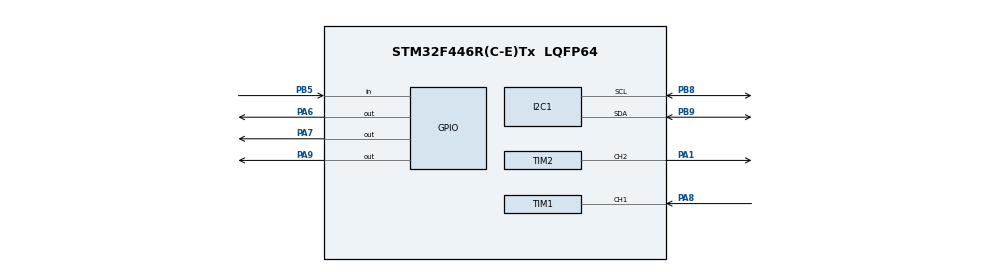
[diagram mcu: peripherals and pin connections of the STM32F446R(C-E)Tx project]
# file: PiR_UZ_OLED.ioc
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I2C1.I2C_Mode=I2C_Fast
Mcu.Family=STM32F4
Mcu.Name=STM32F446R(C-E)Tx
Mcu.Package=LQFP64
NVIC.PriorityGroup=NVIC_PRIORITYGROUP_4
NVIC.TIM1_CC_IRQn=true\:0\:0\:false\:false\:true\:true\:true\:true
PA1.Signal=S_TIM2_CH2
PA13.Mode=Serial_Wire
PA13.Signal=SYS_JTMS-SWDIO
PA14.Mode=Serial_Wire
PA14.Signal=SYS_JTCK-SWCLK
PA6.Signal=GPIO_Output
PA7.Signal=GPIO_Output
PA8.Signal=S_TIM1_CH1
PA9.Signal=GPIO_Output
PB5.Signal=GPIO_Input
PB8.Mode=I2C
PB8.Signal=I2C1_SCL
PB9.Mode=I2C
PB9.Signal=I2C1_SDA
PH0-OSC_IN.Mode=HSE-External-Oscillator
PH0-OSC_IN.Signal=RCC_OSC_IN
PH1-OSC_OUT.Mode=HSE-External-Oscillator
PH1-OSC_OUT.Signal=RCC_OSC_OUT
ProjectManager.HeapSize=0x200
ProjectManager.StackSize=0x400
ProjectManager.TargetToolchain=STM32CubeIDE
RCC.CortexFreq_Value=16000000
RCC.USBFreq_Value=96000000
RCC.VCOOutputFreq_Value=192000000
SH.S_TIM1_CH1.0=TIM1_CH1,Input_Capture1_from_TI1
SH.S_TIM2_CH2.0=TIM2_CH2,PWM Generation2 CH2
TIM1.Channel-Input_Capture1_from_TI1=TIM_CHANNEL_1
TIM1.Period=0xfffe
TIM1.Prescaler=15
TIM2.Channel-PWM\ Generation2\ CH2=TIM_CHANNEL_2
TIM2.Period=19999
TIM2.Prescaler=15
TIM2.Pulse-PWM\ Generation2\ CH2=1500
board=custom

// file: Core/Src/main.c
/* USER CODE BEGIN Header */
/**
  ******************************************************************************
  * @file           : main.c
  * @brief          : Main program body
  ******************************************************************************
  * @attention
  *
  * Copyright (c) 2025 STMicroelectronics.
  * All rights reserved.
  *
  * This software is licensed under terms that can be found in the LICENSE file
  * in the root directory of this software component.
  * If no LICENSE file comes with this software, it is provided AS-IS.
  *
  ******************************************************************************
  */
/* USER CODE END Header */
#include "main.h"
#include "i2c.h"
#include "tim.h"
#include "gpio.h"

/* USER CODE BEGIN Includes */
#include "bitmaps.h"
/* USER CODE END Includes */

void SystemClock_Config(void);
/* USER CODE BEGIN PFP */
void MX_GPIO_Init(void);
void MX_TIM1_Init(void);
/* USER CODE END PFP */

/* USER CODE BEGIN 0 */
#define ADDR 0x78
#define WIDTH 130
#define HEIGHT 64
static uint8_t Buffer[WIDTH * HEIGHT / 8];

void mikrosekunda (uint16_t time)
{
	__HAL_TIM_SET_COUNTER(&htim1, 0);
	while (__HAL_TIM_GET_COUNTER (&htim1) < time);
}

uint32_t vrijednost1 = 0;
uint32_t vrijednost2 = 0;
uint32_t razlika = 0;
uint8_t prvi = 0;
uint8_t udaljenost  = 0;

void HAL_TIM_IC_CaptureCallback(TIM_HandleTypeDef *htim)
{

	if (prvi==0)
			{
				vrijednost1 = HAL_TIM_ReadCapturedValue(htim, TIM_CHANNEL_1);
				prvi = 1;
				__HAL_TIM_SET_CAPTUREPOLARITY(htim, TIM_CHANNEL_1, TIM_INPUTCHANNELPOLARITY_FALLING);
			}

			else if (prvi==1){
				vrijednost2 = HAL_TIM_ReadCapturedValue(htim, TIM_CHANNEL_1);
				__HAL_TIM_SET_COUNTER(htim, 0);

				if (vrijednost2 > vrijednost1){
					razlika = vrijednost2-vrijednost1;
				}

				else if (vrijednost1 > vrijednost2){
					razlika = (0xffff - vrijednost1) + vrijednost2;
				}

				udaljenost = razlika * .034/2;
				prvi = 0;

				__HAL_TIM_SET_CAPTUREPOLARITY(htim, TIM_CHANNEL_1, TIM_INPUTCHANNELPOLARITY_RISING);
				__HAL_TIM_DISABLE_IT(&htim1, TIM_IT_CC1);
		}

}

void UZ_Read (void)
{
	HAL_GPIO_WritePin(GPIOA, GPIO_PIN_9, GPIO_PIN_SET);
	mikrosekunda(10);
	HAL_GPIO_WritePin(GPIOA, GPIO_PIN_9, GPIO_PIN_RESET);

	__HAL_TIM_ENABLE_IT(&htim1, TIM_IT_CC1);
}
/* USER CODE END 0 */

int main(void)
{

  /* MCU Configuration--------------------------------------------------------*/

  /* Reset of all peripherals, Initializes the Flash interface and the Systick. */
  HAL_Init();

  /* Configure the system clock */
  SystemClock_Config();

  /* Initialize all configured peripherals */
  MX_GPIO_Init();
  MX_I2C1_Init();
  MX_TIM1_Init();
  MX_TIM2_Init();
  /* USER CODE BEGIN 2 */
  HAL_TIM_IC_Start_IT(&htim1, TIM_CHANNEL_1);
  uint16_t switchState;
  HAL_TIM_PWM_Start(&htim2, TIM_CHANNEL_2);

HAL_Delay(100);
//provjera konekcije OLED-a s I2C
  	if (HAL_I2C_IsDeviceReady(&hi2c1,ADDR, 1, 20000) != HAL_OK) {
  			return 0;
  		}
  	//Inicijaliziranje OLED-a
  	Write(0x78,0x00,0xAE); // display OFF
  	Write(0x78,0x00,0x20); //Memory Addressing mode
  	Write(0x78,0x00,0x10); //Page Addressing mode
  	Write(0x78,0x00,0xB0); //Page start address
  	Write(0x78,0x00,0xC8); //COM output scan direction
  	Write(0x78,0x00,0x00); // low column address
  	Write(0x78,0x00,0x10); // high column address
  	Write(0x78,0x00,0x40); // start line address
  	Write(0x78,0x00,0x81); // contrast register
  	Write(0x78,0x00,0xFF);
  	Write(0x78,0x00,0xA1); // segment re-map 0 do 127
  	Write(0x78,0x00,0xA6); //normal display

  	Write(0x78,0x00,0xA8); //Height OxFF za 128 px, 0xA8 za sve ostalo
  	Write(0x78,0x00,0x3F); // multiplex ratio

  	Write(0x78,0x00,0xA4); //Output follows RAM
  	Write(0x78,0x00,0xD3); // display offset
  	Write(0x78,0x00,0x00); // not offset
  	Write(0x78,0x00,0xD5); // frequency
  	Write(0x78,0x00,0xF0); // divide ratio
  	Write(0x78,0x00,0xD9); // pre-charge period
  	Write(0x78,0x00,0x22);
  	Write(0x78,0x00,0xDA); // COM pin
  	Write(0x78,0x00,0x12);

  	Write(0x78,0x00,0xDB); // Voltage pin (vcomh)
  	Write(0x78,0x00,0x20);
  	Write(0x78,0x00,0x8D); // DC-DC upaljen
  	Write(0x78,0x00,0x14);
  	Write(0x78,0x00,0xAF); //upali panel
  	//deaktiviraj scroll
  	Write(0x78,0x00,0x2E);
  	//Clear ekran
  	memset(Buffer, (0xFF) ? 0x00 : 0xFF, sizeof(Buffer));
  	//Update ekran
  	uint8_t i;

  		for (i = 0; i < 8; i++) {
  			Write(0x78,0x00,0xB0+i);
  			Write(0x78,0x00,0x00);
  			Write(0x78,0x00,0x10);

  			WriteMulti(ADDR, 0x40, &Buffer[WIDTH * i], WIDTH);
  			}
  /* USER CODE END 2 */

  /* Infinite loop */
  /* USER CODE BEGIN WHILE */
  while (1)
  {
	  UZ_Read();
	  	  HAL_Delay(200);
	  	  switchState = HAL_GPIO_ReadPin(GPIOB, GPIO_PIN_5);

	  	           if(switchState == 1){
	  	        	   HAL_GPIO_WritePin(GPIOA, GPIO_PIN_7, GPIO_PIN_SET);
	  	        	   memset(Buffer, (0xFF) ? 0x00 : 0xFF, sizeof(Buffer));
	  	        	   WriteBitmap(0,0,Priblizite_se_vratima,128,64,1);

	  	        	   	for (i = 0; i < 8; i++){
	  	        	   		Write(0x78,0x00,0xB0+i);
	  	        	   		Write(0x78,0x00,0x00);
	  	        	   		Write(0x78,0x00,0x10);

	  	        	   		WriteMulti(ADDR, 0x40, &Buffer[WIDTH * i], WIDTH);
	  	        	   		}
	  	        	   	if(udaljenost < 10){
	  	        	  	  	           HAL_GPIO_WritePin(GPIOA, GPIO_PIN_6, GPIO_PIN_SET);
	  	        	  	  	     memset(Buffer, (0xFF) ? 0x00 : 0xFF, sizeof(Buffer));
	  	        	  	  	     WriteBitmap(0,0,Pricekajte,128,64,1);

	  	        	  	  	     	 	 for (i = 0; i < 8; i++) {
	  	        	  	  	     	  	      	  Write(0x78,0x00,0xB0+i);
	  	        	  	  	     	  	      	  Write(0x78,0x00,0x00);
	  	        	  	  	     	  	      	  Write(0x78,0x00,0x10);
	  	        	  	  	     	  	      	  WriteMulti(ADDR, 0x40, &Buffer[WIDTH * i], WIDTH);
	  	        	  	  	     	 	 	 	  }

	  	        	  	  	           HAL_Delay(1000);
	  	      	  	        	   __HAL_TIM_SET_COMPARE(&htim2,TIM_CHANNEL_2,2000);
	  	      	  	        	   HAL_Delay(500);
	  	      	  	        	memset(Buffer, (0xFF) ? 0x00 : 0xFF, sizeof(Buffer));
	  	      	  	        	WriteBitmap(0,0,Prodite,128,64,1);

	  	      	  	        			for (i = 0; i < 8; i++) {
	  	      	  	        					Write(0x78,0x00,0xB0+i);
	  	      	  	        		  	   		Write(0x78,0x00,0x00);
	  	      	  	        		  	   		Write(0x78,0x00,0x10);
	  	      	  	        		  	   		WriteMulti(ADDR, 0x40, &Buffer[WIDTH * i], WIDTH);
	  	      	  	        		  	   		}

	  	      	  	        	HAL_Delay(5000);
	  	      	  	        	memset(Buffer, (0xFF) ? 0x00 : 0xFF, sizeof(Buffer));

	  	      	  	        	for (i = 0; i < 8; i++) {
	  	        	   	        	   		Write(0x78,0x00,0xB0+i);
	  	        	   	        	   		Write(0x78,0x00,0x00);
	  	        	   	        	   		Write(0x78,0x00,0x10);
	  	        	   	        	   		WriteMulti(ADDR, 0x40, &Buffer[WIDTH * i], WIDTH);
	  	        	   	        	   		}
	  	        	   	}else{
	  	        	   __HAL_TIM_SET_COMPARE(&htim2,TIM_CHANNEL_2,1000);

	  	           }
	  	           }else{
	  	           HAL_GPIO_WritePin(GPIOA, GPIO_PIN_6, GPIO_PIN_RESET);
	  	           __HAL_TIM_SET_COMPARE(&htim2,TIM_CHANNEL_2,1000);
	  	           }
    /* USER CODE END WHILE */

  }
}

void SystemClock_Config(void)
{
  RCC_OscInitTypeDef RCC_OscInitStruct = {0};
  RCC_ClkInitTypeDef RCC_ClkInitStruct = {0};

  /** Configure the main internal regulator output voltage
  */
  __HAL_RCC_PWR_CLK_ENABLE();
  __HAL_PWR_VOLTAGESCALING_CONFIG(PWR_REGULATOR_VOLTAGE_SCALE3);

  /** Initializes the RCC Oscillators according to the specified parameters
  * in the RCC_OscInitTypeDef structure.
  */
  RCC_OscInitStruct.OscillatorType = RCC_OSCILLATORTYPE_HSI;
  RCC_OscInitStruct.HSIState = RCC_HSI_ON;
  RCC_OscInitStruct.HSICalibrationValue = RCC_HSICALIBRATION_DEFAULT;
  RCC_OscInitStruct.PLL.PLLState = RCC_PLL_NONE;
  if (HAL_RCC_OscConfig(&RCC_OscInitStruct) != HAL_OK)
  {
    Error_Handler();
  }

  /** Initializes the CPU, AHB and APB buses clocks
  */
  RCC_ClkInitStruct.ClockType = RCC_CLOCKTYPE_HCLK|RCC_CLOCKTYPE_SYSCLK
                              |RCC_CLOCKTYPE_PCLK1|RCC_CLOCKTYPE_PCLK2;
  RCC_ClkInitStruct.SYSCLKSource = RCC_SYSCLKSOURCE_HSI;
  RCC_ClkInitStruct.AHBCLKDivider = RCC_SYSCLK_DIV1;
  RCC_ClkInitStruct.APB1CLKDivider = RCC_HCLK_DIV1;
  RCC_ClkInitStruct.APB2CLKDivider = RCC_HCLK_DIV1;

  if (HAL_RCC_ClockConfig(&RCC_ClkInitStruct, FLASH_LATENCY_0) != HAL_OK)
  {
    Error_Handler();
  }
}

/* USER CODE BEGIN 4 */
void Write(uint8_t address, uint8_t reg, uint8_t data) {
 	uint8_t a[2];
 	a[0] = reg;
 	a[1] = data;
 	HAL_I2C_Master_Transmit(&hi2c1, address, a, 2, 10);
 }

void WriteMulti(uint8_t address, uint8_t reg, uint8_t* data, uint16_t count) {
	uint8_t a[256];
	a[0] = reg;
	uint8_t i;
	for(i = 0; i < count; i++)
			a[i+1] = data[i];
			HAL_I2C_Master_Transmit(&hi2c1, address, a, count+1, 10);
	}

void WritePixel(uint16_t x, uint16_t y,uint16_t color) {
	if (color == 1) {
			Buffer[x + (y / 8) * WIDTH] |= 1 << (y % 8);
		} else {
			Buffer[x + (y / 8) * WIDTH] &= ~(1 << (y % 8));
		}
	}

void WriteBitmap(int16_t x, int16_t y, const unsigned char* bitmap, int16_t w, int16_t h, uint16_t color){

    int16_t byteWidth = (w+7)/8;
    uint8_t byte = 0;

    for(int16_t j=0; j<h; j++, y++){
        for(int16_t i=0; i<w; i++){
            if(i & 7){
               byte <<= 1;
            }else{
            	byte = (*(const unsigned char *)(&bitmap[j * byteWidth + i / 8]));
            }if(byte & 0x80)
            	WritePixel(x+i, y, color);
        }
    }
}

/* USER CODE END 4 */

void Error_Handler(void)
{
  __disable_irq();
  while (1)
  {
  }
}
